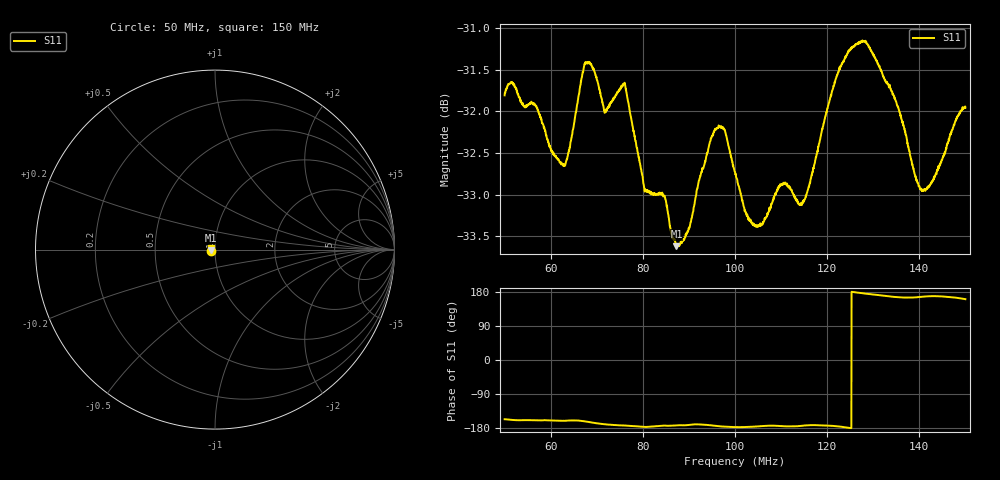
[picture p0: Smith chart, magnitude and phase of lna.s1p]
! COPPER MOUNTAIN TECHNOLOGIES, PLANAR TR1300/1, 00090118, 19.1.1/1.0
! Date: 11/26/2019 5:03:58 PM
! Data: Format [Calibration Info]
! Freq  S11: Re/Im F1
# HZ S RI R 50
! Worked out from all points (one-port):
!   2001 points, 50 MHz to 150 MHz, reference 50 ohm
!   lowest |S11| = -33.6 dB at 87.3 MHz (marker M1), VSWR 1.04, Z = 48 - j0.26 ohm
!   |S11| at or under -10 dB: start of sweep to end of sweep
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5e7  -0.0235 -0.0103
5.66e7  -0.0237 -0.00898
6.25e7  -0.022 -0.00781
6.37e7  -0.0222 -0.00816
6.77e7  -0.0256 -0.00811
7.18e7  -0.0247 -0.00451
7.5e7  -0.0257 -0.0034
7.635e7  -0.0257 -0.0031
8.05e7  -0.0225 -0.00132
8.455e7  -0.0222 -0.00261
8.73e7  -0.0207 -0.0027
8.75e7  -0.0207 -0.00273
9e7  -0.0211 -0.00321
9.58e7  -0.0243 -0.00269
9.775e7  -0.0244 -0.0017
1e8  -0.0231 -0.0012
1.0445e8  -0.0214 -0.00163
1.1e8  -0.0226 -0.00221
1.125e8  -0.0224 -0.00193
1.153e8  -0.0221 -0.00284
1.215e8  -0.0259 -0.00263
1.25e8  -0.0273 -0.000277
1.288e8  -0.0274 0.00266
1.3455e8  -0.025 0.00598
1.375e8  -0.0231 0.00636
1.3965e8  -0.0221 0.00557
1.4125e8  -0.022 0.00481
1.5e8  -0.0238 0.00843
